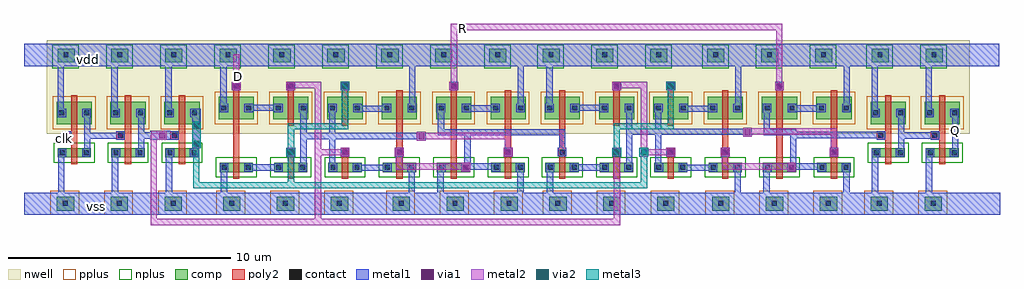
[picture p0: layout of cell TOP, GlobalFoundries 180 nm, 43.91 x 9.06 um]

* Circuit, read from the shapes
.subckt TOP D Q R clk vdd vss
XM1 n1 clk vss vss nfet_03v3 w=0.42u l=0.28u
XM2 n2 n1 vss vss nfet_03v3 w=0.42u l=0.28u
XM3 n3 n2 vss vss nfet_03v3 w=0.42u l=0.28u
XM4 n4 D vss vss nfet_03v3 w=0.42u l=0.28u
XM5 n5 n3 n4 vss nfet_03v3 w=0.42u l=0.28u
XM6 n6 n2 n5 vss nfet_03v3 w=0.42u l=0.28u
XM7 vss n7 n6 vss nfet_03v3 w=0.42u l=0.28u
XM8 n7 R vss vss nfet_03v3 w=0.42u l=0.28u
XM9 vss n5 n7 vss nfet_03v3 w=0.42u l=0.28u
XM10 n8 n7 vss vss nfet_03v3 w=0.42u l=0.28u
XM11 n9 n2 n8 vss nfet_03v3 w=0.42u l=0.28u
XM12 n10 n3 n9 vss nfet_03v3 w=0.42u l=0.28u
XM13 vss n11 n10 vss nfet_03v3 w=0.42u l=0.28u
XM14 n11 R vss vss nfet_03v3 w=0.42u l=0.28u
XM15 vss n9 n11 vss nfet_03v3 w=0.42u l=0.28u
XM16 n12 n11 vss vss nfet_03v3 w=0.42u l=0.28u
XM17 Q n12 vss vss nfet_03v3 w=0.42u l=0.28u
XM18 n1 clk vdd vdd pfet_03v3 w=1u l=0.28u
XM19 n2 n1 vdd vdd pfet_03v3 w=1u l=0.28u
XM20 n3 n2 vdd vdd pfet_03v3 w=1u l=0.28u
XM21 n13 D vdd vdd pfet_03v3 w=1u l=0.28u
XM22 n5 n2 n13 vdd pfet_03v3 w=1u l=0.28u
XM23 n14 n3 n5 vdd pfet_03v3 w=1u l=0.28u
XM24 vdd n7 n14 vdd pfet_03v3 w=1u l=0.28u
XM25 n15 R n7 vdd pfet_03v3 w=1u l=0.28u
XM26 vdd n5 n15 vdd pfet_03v3 w=1u l=0.28u
XM27 n16 n7 vdd vdd pfet_03v3 w=1u l=0.28u
XM28 n9 n3 n16 vdd pfet_03v3 w=1u l=0.28u
XM29 n17 n2 n9 vdd pfet_03v3 w=1u l=0.28u
XM30 vdd n11 n17 vdd pfet_03v3 w=1u l=0.28u
XM31 n18 R n11 vdd pfet_03v3 w=1u l=0.28u
XM32 vdd n9 n18 vdd pfet_03v3 w=1u l=0.28u
XM33 n12 n11 vdd vdd pfet_03v3 w=1u l=0.28u
XM34 Q n12 vdd vdd pfet_03v3 w=1u l=0.28u
.ends

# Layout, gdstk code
import gdstk
lib = gdstk.Library(unit=1e-6, precision=1e-08)
def R(c, l, rs):  # rectangles x0, y0, x1, y1
    for r in rs: c.add(gdstk.rectangle(r[:2], r[2:], *l))
nwell = (21, 0)
comp = (22, 0)
poly2 = (30, 0)
pplus = (31, 0)
nplus = (32, 0)
contact = (33, 0)
metal1 = (34, 0)
via1 = (35, 0)
metal2 = (36, 0)
via2 = (38, 0)
metal3 = (42, 0)

top = lib.new_cell('TOP')
R(top, nwell, [(-9.25,0.62,-6.79,2.5), (-6.83,0.62,-4.37,2.5), (-4.4,0.62,-1.94,2.5), (-4.4,0.62,-1.94,2.5), (-3.15,0.62,27.52,4.84), (27.37,0.62,29.83,2.5), (29.8,0.62,32.26,2.5), (-1.96,0.84,0.5,2.72), (0.49,0.84,2.95,2.72), (2.93,0.84,5.39,2.72), (5.38,0.84,7.84,2.72), (7.82,0.84,10.28,2.72), (10.27,0.84,12.73,2.72), (12.7,0.84,15.16,2.72), (15.15,0.84,17.61,2.72), (17.59,0.84,20.05,2.72), (20.04,0.84,22.5,2.72), (22.48,0.84,24.94,2.72), (24.93,0.84,27.39,2.72), (-9.25,2.42,-6.79,4.84), (-9.25,2.42,-6.79,4.84), (-6.83,2.42,-4.37,4.84), (-4.4,2.42,-1.94,4.84), (-4.4,2.42,-1.94,4.84), (-1.96,2.42,0.5,4.84), (-1.96,2.42,0.5,4.84), (0.46,2.42,2.92,4.84), (2.89,2.42,5.35,4.84), (2.89,2.42,5.35,4.84), (5.32,2.42,7.78,4.84), (5.32,2.42,7.78,4.84), (7.74,2.42,10.2,4.84), (10.17,2.42,12.63,4.84), (10.17,2.42,12.63,4.84), (12.57,2.42,15.03,4.84), (12.57,2.42,15.03,4.84), (14.99,2.42,17.45,4.84), (17.42,2.42,19.88,4.84), (17.42,2.42,19.88,4.84), (19.98,2.42,22.44,4.84), (19.98,2.42,22.44,4.84), (22.4,2.42,24.86,4.84), (24.83,2.42,27.29,4.84), (24.83,2.42,27.29,4.84), (27.37,2.42,29.83,4.84), (29.8,2.42,32.26,4.84)])
R(top, comp, [(-8.8,-2.84,-8.03,-2.22), (-6.38,-2.84,-5.61,-2.22), (-3.95,-2.84,-3.18,-2.22), (-3.95,-2.84,-3.18,-2.22), (-1.32,-2.84,-0.55,-2.22), (1.1,-2.84,1.87,-2.22), (3.53,-2.84,4.3,-2.22), (3.53,-2.84,4.3,-2.22), (6.31,-2.84,7.08,-2.22), (8.73,-2.84,9.5,-2.22), (11.16,-2.84,11.93,-2.22), (11.16,-2.84,11.93,-2.22), (13.36,-2.84,14.13,-2.22), (15.78,-2.84,16.55,-2.22), (18.21,-2.84,18.98,-2.22), (18.21,-2.84,18.98,-2.22), (20.68,-2.84,21.45,-2.22), (23.1,-2.84,23.87,-2.22), (25.53,-2.84,26.3,-2.22), (25.53,-2.84,26.3,-2.22), (27.82,-2.84,28.59,-2.22), (30.25,-2.84,31.02,-2.22), (-1.48,-1.1,-1.06,-0.68), (-1.06,-1.1,-0.4,-0.68), (-0.4,-1.1,0.02,-0.68), (0.97,-1.1,1.39,-0.68), (1.39,-1.1,2.05,-0.68), (2.05,-1.1,2.47,-0.68), (3.41,-1.1,3.83,-0.68), (3.83,-1.1,4.49,-0.68), (4.49,-1.1,4.91,-0.68), (5.86,-1.1,6.28,-0.68), (6.28,-1.1,6.94,-0.68), (6.94,-1.1,7.36,-0.68), (8.3,-1.1,8.72,-0.68), (8.72,-1.1,9.38,-0.68), (9.38,-1.1,9.8,-0.68), (10.75,-1.1,11.17,-0.68), (11.17,-1.1,11.83,-0.68), (11.83,-1.1,12.25,-0.68), (13.18,-1.1,13.6,-0.68), (13.6,-1.1,14.26,-0.68), (14.26,-1.1,14.68,-0.68), (15.63,-1.1,16.05,-0.68), (16.05,-1.1,16.71,-0.68), (16.71,-1.1,17.13,-0.68), (18.07,-1.1,18.49,-0.68), (18.49,-1.1,19.15,-0.68), (19.15,-1.1,19.57,-0.68), (20.52,-1.1,20.94,-0.68), (20.94,-1.1,21.6,-0.68), (21.6,-1.1,22.02,-0.68), (22.96,-1.1,23.38,-0.68), (23.38,-1.1,24.04,-0.68), (24.04,-1.1,24.46,-0.68), (25.41,-1.1,25.83,-0.68), (25.83,-1.1,26.49,-0.68), (26.49,-1.1,26.91,-0.68), (-8.77,-0.44,-8.35,-0.02), (-8.35,-0.44,-7.69,-0.02), (-7.69,-0.44,-7.27,-0.02), (-6.35,-0.44,-5.93,-0.02), (-5.93,-0.44,-5.27,-0.02), (-5.27,-0.44,-4.85,-0.02), (-3.92,-0.44,-3.5,-0.02), (-3.92,-0.44,-3.5,-0.02), (-3.5,-0.44,-2.84,-0.02), (-3.5,-0.44,-2.84,-0.02), (-2.84,-0.44,-2.42,-0.02), (-2.84,-0.44,-2.42,-0.02), (27.85,-0.44,28.27,-0.02), (28.27,-0.44,28.93,-0.02), (28.93,-0.44,29.35,-0.02), (30.28,-0.44,30.7,-0.02), (30.7,-0.44,31.36,-0.02), (31.36,-0.44,31.78,-0.02), (-8.81,1.06,-8.35,2.06), (-8.35,1.06,-7.69,2.06), (-7.69,1.06,-7.23,2.06), (-6.39,1.06,-5.93,2.06), (-5.93,1.06,-5.27,2.06), (-5.27,1.06,-4.81,2.06), (-3.96,1.06,-3.5,2.06), (-3.96,1.06,-3.5,2.06), (-3.5,1.06,-2.84,2.06), (-3.5,1.06,-2.84,2.06), (-2.84,1.06,-2.38,2.06), (-2.84,1.06,-2.38,2.06), (27.81,1.06,28.27,2.06), (28.27,1.06,28.93,2.06), (28.93,1.06,29.39,2.06), (30.24,1.06,30.7,2.06), (30.7,1.06,31.36,2.06), (31.36,1.06,31.82,2.06), (-1.52,1.28,-1.06,2.28), (-1.06,1.28,-0.4,2.28), (-0.4,1.28,0.06,2.28), (0.93,1.28,1.39,2.28), (1.39,1.28,2.05,2.28), (2.05,1.28,2.51,2.28), (3.37,1.28,3.83,2.28), (3.83,1.28,4.49,2.28), (4.49,1.28,4.95,2.28), (5.82,1.28,6.28,2.28), (6.28,1.28,6.94,2.28), (6.94,1.28,7.4,2.28), (8.26,1.28,8.72,2.28), (8.72,1.28,9.38,2.28), (9.38,1.28,9.84,2.28), (10.71,1.28,11.17,2.28), (11.17,1.28,11.83,2.28), (11.83,1.28,12.29,2.28), (13.14,1.28,13.6,2.28), (13.6,1.28,14.26,2.28), (14.26,1.28,14.72,2.28), (15.59,1.28,16.05,2.28), (16.05,1.28,16.71,2.28), (16.71,1.28,17.17,2.28), (18.03,1.28,18.49,2.28), (18.49,1.28,19.15,2.28), (19.15,1.28,19.61,2.28), (20.48,1.28,20.94,2.28), (20.94,1.28,21.6,2.28), (21.6,1.28,22.06,2.28), (22.92,1.28,23.38,2.28), (23.38,1.28,24.04,2.28), (24.04,1.28,24.5,2.28), (25.37,1.28,25.83,2.28), (25.83,1.28,26.49,2.28), (26.49,1.28,26.95,2.28), (-8.77,3.83,-8,4.45), (-8.77,3.83,-8,4.45), (-6.35,3.83,-5.58,4.45), (-3.92,3.83,-3.15,4.45), (-3.92,3.83,-3.15,4.45), (-1.48,3.83,-0.71,4.45), (-1.48,3.83,-0.71,4.45), (0.94,3.83,1.71,4.45), (3.37,3.83,4.14,4.45), (3.37,3.83,4.14,4.45), (5.8,3.83,6.57,4.45), (5.8,3.83,6.57,4.45), (8.22,3.83,8.99,4.45), (10.65,3.83,11.42,4.45), (10.65,3.83,11.42,4.45), (13.05,3.83,13.82,4.45), (13.05,3.83,13.82,4.45), (15.47,3.83,16.24,4.45), (17.9,3.83,18.67,4.45), (17.9,3.83,18.67,4.45), (20.46,3.83,21.23,4.45), (20.46,3.83,21.23,4.45), (22.88,3.83,23.65,4.45), (25.31,3.83,26.08,4.45), (25.31,3.83,26.08,4.45), (27.85,3.83,28.62,4.45), (30.28,3.83,31.05,4.45)])
R(top, poly2, [(-0.87,-1.4,-0.59,-0.38), (1.58,-1.4,1.86,-0.38), (4.02,-1.4,4.3,-0.38), (6.47,-1.4,6.75,-0.38), (8.91,-1.4,9.19,-0.38), (11.36,-1.4,11.64,-0.38), (13.79,-1.4,14.07,-0.38), (16.24,-1.4,16.52,-0.38), (18.68,-1.4,18.96,-0.38), (21.13,-1.4,21.41,-0.38), (23.57,-1.4,23.85,-0.38), (26.02,-1.4,26.3,-0.38), (11.36,-0.95,11.64,1.03), (26.02,-0.95,26.3,1.03), (-8.16,-0.74,-7.88,0.28), (-5.74,-0.74,-5.46,0.28), (-3.31,-0.74,-3.03,0.28), (-3.31,-0.74,-3.03,0.28), (28.46,-0.74,28.74,0.28), (30.89,-0.74,31.17,0.28), (8.91,-0.71,9.19,1.05), (23.57,-0.71,23.85,1.05), (-0.87,-0.7,-0.59,1.02), (13.79,-0.7,14.07,1.02), (6.47,-0.47,6.75,1.07), (21.13,-0.47,21.41,1.07), (1.54,-0.38,1.9,-0.02), (3.98,-0.38,4.34,-0.02), (6.43,-0.38,6.79,-0.02), (11.32,-0.38,11.68,-0.02), (13.75,-0.38,14.11,-0.02), (16.2,-0.38,16.56,-0.02), (18.64,-0.38,19,-0.02), (21.09,-0.38,21.45,-0.02), (25.98,-0.38,26.34,-0.02), (-8.54,0.36,-8.16,0.74), (-6.12,0.36,-5.74,0.74), (-3.69,0.36,-3.31,0.74), (-3.69,0.36,-3.31,0.74), (28.08,0.36,28.46,0.74), (30.51,0.36,30.89,0.74), (-8.16,0.76,-7.88,2.36), (-5.74,0.76,-5.46,2.36), (-3.31,0.76,-3.03,2.36), (-3.31,0.76,-3.03,2.36), (28.46,0.76,28.74,2.36), (30.89,0.76,31.17,2.36), (-0.87,0.98,-0.59,2.58), (1.58,0.98,1.86,2.58), (4.02,0.98,4.3,2.58), (6.47,0.98,6.75,2.58), (8.91,0.98,9.19,2.58), (11.36,0.98,11.64,2.58), (13.79,0.98,14.07,2.58), (16.24,0.98,16.52,2.58), (18.68,0.98,18.96,2.58), (21.13,0.98,21.41,2.58), (23.57,0.98,23.85,2.58), (26.02,0.98,26.3,2.58), (-0.92,2.58,-0.54,2.96), (1.53,2.58,1.91,2.96), (3.97,2.58,4.35,2.96), (8.86,2.58,9.24,2.96), (16.19,2.58,16.57,2.96), (18.63,2.58,19.01,2.96), (23.52,2.58,23.9,2.96)])
R(top, pplus, [(-9.1,-3.02,-7.8,-1.95), (-6.68,-3.02,-5.38,-1.95), (-4.25,-3.02,-2.95,-1.95), (-4.25,-3.02,-2.95,-1.95), (-1.62,-3.02,-0.32,-1.95), (0.8,-3.02,2.1,-1.95), (3.23,-3.02,4.53,-1.95), (3.23,-3.02,4.53,-1.95), (6.01,-3.02,7.31,-1.95), (8.43,-3.02,9.73,-1.95), (10.86,-3.02,12.16,-1.95), (10.86,-3.02,12.16,-1.95), (13.06,-3.02,14.36,-1.95), (15.48,-3.02,16.78,-1.95), (17.91,-3.02,19.21,-1.95), (17.91,-3.02,19.21,-1.95), (20.38,-3.02,21.68,-1.95), (22.8,-3.02,24.1,-1.95), (25.23,-3.02,26.53,-1.95), (25.23,-3.02,26.53,-1.95), (27.52,-3.02,28.82,-1.95), (29.95,-3.02,31.25,-1.95), (-8.98,0.82,-7.06,2.3), (-6.56,0.82,-4.64,2.3), (-4.13,0.82,-2.21,2.3), (-4.13,0.82,-2.21,2.3), (27.64,0.82,29.56,2.3), (30.07,0.82,31.99,2.3), (-1.69,1.04,0.23,2.52), (0.76,1.04,2.68,2.52), (3.2,1.04,5.12,2.52), (5.65,1.04,7.57,2.52), (8.09,1.04,10.01,2.52), (10.54,1.04,12.46,2.52), (12.97,1.04,14.89,2.52), (15.42,1.04,17.34,2.52), (17.86,1.04,19.78,2.52), (20.31,1.04,22.23,2.52), (22.75,1.04,24.67,2.52), (25.2,1.04,27.12,2.52)])
R(top, nplus, [(-1.65,-1.34,0.19,-0.44), (0.8,-1.34,2.64,-0.44), (3.24,-1.34,5.08,-0.44), (5.69,-1.34,7.53,-0.44), (8.13,-1.34,9.97,-0.44), (10.58,-1.34,12.42,-0.44), (13.01,-1.34,14.85,-0.44), (15.46,-1.34,17.3,-0.44), (17.9,-1.34,19.74,-0.44), (20.35,-1.34,22.19,-0.44), (22.79,-1.34,24.63,-0.44), (25.24,-1.34,27.08,-0.44), (-8.94,-0.68,-7.1,0.22), (-6.52,-0.68,-4.68,0.22), (-4.09,-0.68,-2.25,0.22), (-4.09,-0.68,-2.25,0.22), (27.68,-0.68,29.52,0.22), (30.11,-0.68,31.95,0.22), (-9,3.57,-7.81,4.62), (-9,3.57,-7.81,4.62), (-6.58,3.57,-5.39,4.62), (-4.15,3.57,-2.96,4.62), (-4.15,3.57,-2.96,4.62), (-1.71,3.57,-0.52,4.62), (-1.71,3.57,-0.52,4.62), (0.71,3.57,1.9,4.62), (3.14,3.57,4.33,4.62), (3.14,3.57,4.33,4.62), (5.57,3.57,6.76,4.62), (5.57,3.57,6.76,4.62), (7.99,3.57,9.18,4.62), (10.42,3.57,11.61,4.62), (10.42,3.57,11.61,4.62), (12.82,3.57,14.01,4.62), (12.82,3.57,14.01,4.62), (15.24,3.57,16.43,4.62), (17.67,3.57,18.86,4.62), (17.67,3.57,18.86,4.62), (20.23,3.57,21.42,4.62), (20.23,3.57,21.42,4.62), (22.65,3.57,23.84,4.62), (25.08,3.57,26.27,4.62), (25.08,3.57,26.27,4.62), (27.62,3.57,28.81,4.62), (30.05,3.57,31.24,4.62)])
R(top, contact, [(-8.53,-2.61,-8.31,-2.39), (-6.11,-2.61,-5.89,-2.39), (-3.68,-2.61,-3.46,-2.39), (-3.68,-2.61,-3.46,-2.39), (-1.05,-2.61,-0.83,-2.39), (1.37,-2.61,1.59,-2.39), (3.8,-2.61,4.02,-2.39), (3.8,-2.61,4.02,-2.39), (6.58,-2.61,6.8,-2.39), (9,-2.61,9.22,-2.39), (11.43,-2.61,11.65,-2.39), (11.43,-2.61,11.65,-2.39), (13.63,-2.61,13.85,-2.39), (16.05,-2.61,16.27,-2.39), (18.48,-2.61,18.7,-2.39), (18.48,-2.61,18.7,-2.39), (20.95,-2.61,21.17,-2.39), (23.37,-2.61,23.59,-2.39), (25.8,-2.61,26.02,-2.39), (25.8,-2.61,26.02,-2.39), (28.09,-2.61,28.31,-2.39), (30.52,-2.61,30.74,-2.39), (-1.38,-1,-1.16,-0.78), (-0.3,-1,-0.08,-0.78), (1.07,-1,1.29,-0.78), (2.15,-1,2.37,-0.78), (3.51,-1,3.73,-0.78), (4.59,-1,4.81,-0.78), (5.96,-1,6.18,-0.78), (7.04,-1,7.26,-0.78), (8.4,-1,8.62,-0.78), (9.48,-1,9.7,-0.78), (10.85,-1,11.07,-0.78), (11.93,-1,12.15,-0.78), (13.28,-1,13.5,-0.78), (14.36,-1,14.58,-0.78), (15.73,-1,15.95,-0.78), (16.81,-1,17.03,-0.78), (18.17,-1,18.39,-0.78), (19.25,-1,19.47,-0.78), (20.62,-1,20.84,-0.78), (21.7,-1,21.92,-0.78), (23.06,-1,23.28,-0.78), (24.14,-1,24.36,-0.78), (25.51,-1,25.73,-0.78), (26.59,-1,26.81,-0.78), (-8.67,-0.34,-8.45,-0.12), (-7.59,-0.34,-7.37,-0.12), (-6.25,-0.34,-6.03,-0.12), (-5.17,-0.34,-4.95,-0.12), (-3.82,-0.34,-3.6,-0.12), (-3.82,-0.34,-3.6,-0.12), (-2.74,-0.34,-2.52,-0.12), (-2.74,-0.34,-2.52,-0.12), (27.95,-0.34,28.17,-0.12), (29.03,-0.34,29.25,-0.12), (30.38,-0.34,30.6,-0.12), (31.46,-0.34,31.68,-0.12), (1.61,-0.31,1.83,-0.09), (4.05,-0.31,4.27,-0.09), (6.5,-0.31,6.72,-0.09), (11.39,-0.31,11.61,-0.09), (13.82,-0.31,14.04,-0.09), (16.27,-0.31,16.49,-0.09), (18.71,-0.31,18.93,-0.09), (21.16,-0.31,21.38,-0.09), (26.05,-0.31,26.27,-0.09), (-8.46,0.44,-8.24,0.66), (-6.04,0.44,-5.82,0.66), (-3.61,0.44,-3.39,0.66), (-3.61,0.44,-3.39,0.66), (28.16,0.44,28.38,0.66), (30.59,0.44,30.81,0.66), (-8.69,1.45,-8.47,1.67), (-7.57,1.45,-7.35,1.67), (-6.27,1.45,-6.05,1.67), (-5.15,1.45,-4.93,1.67), (-3.84,1.45,-3.62,1.67), (-3.84,1.45,-3.62,1.67), (-2.72,1.45,-2.5,1.67), (-2.72,1.45,-2.5,1.67), (27.93,1.45,28.15,1.67), (29.05,1.45,29.27,1.67), (30.36,1.45,30.58,1.67), (31.48,1.45,31.7,1.67), (-1.4,1.67,-1.18,1.89), (-0.28,1.67,-0.06,1.89), (1.05,1.67,1.27,1.89), (2.17,1.67,2.39,1.89), (3.49,1.67,3.71,1.89), (4.61,1.67,4.83,1.89), (5.94,1.67,6.16,1.89), (7.06,1.67,7.28,1.89), (8.38,1.67,8.6,1.89), (9.5,1.67,9.72,1.89), (10.83,1.67,11.05,1.89), (11.95,1.67,12.17,1.89), (13.26,1.67,13.48,1.89), (14.38,1.67,14.6,1.89), (15.71,1.67,15.93,1.89), (16.83,1.67,17.05,1.89), (18.15,1.67,18.37,1.89), (19.27,1.67,19.49,1.89), (20.6,1.67,20.82,1.89), (21.72,1.67,21.94,1.89), (23.04,1.67,23.26,1.89), (24.16,1.67,24.38,1.89), (25.49,1.67,25.71,1.89), (26.61,1.67,26.83,1.89), (-0.84,2.66,-0.62,2.88), (1.61,2.66,1.83,2.88), (4.05,2.66,4.27,2.88), (8.94,2.66,9.16,2.88), (16.27,2.66,16.49,2.88), (18.71,2.66,18.93,2.88), (23.6,2.66,23.82,2.88), (-8.5,4.06,-8.28,4.28), (-8.5,4.06,-8.28,4.28), (-6.08,4.06,-5.86,4.28), (-3.65,4.06,-3.43,4.28), (-3.65,4.06,-3.43,4.28), (-1.21,4.06,-0.99,4.28), (-1.21,4.06,-0.99,4.28), (1.21,4.06,1.43,4.28), (3.64,4.06,3.86,4.28), (3.64,4.06,3.86,4.28), (6.07,4.06,6.29,4.28), (6.07,4.06,6.29,4.28), (8.49,4.06,8.71,4.28), (10.92,4.06,11.14,4.28), (10.92,4.06,11.14,4.28), (13.32,4.06,13.54,4.28), (13.32,4.06,13.54,4.28), (15.74,4.06,15.96,4.28), (18.17,4.06,18.39,4.28), (18.17,4.06,18.39,4.28), (20.73,4.06,20.95,4.28), (20.73,4.06,20.95,4.28), (23.15,4.06,23.37,4.28), (25.58,4.06,25.8,4.28), (25.58,4.06,25.8,4.28), (28.12,4.06,28.34,4.28), (30.55,4.06,30.77,4.28)])
R(top, metal1, [(9.39,-1.09,9.79,-0.69), (9.39,-1.09,9.79,-0.69), (24.05,-1.09,24.45,-0.69), (24.05,-1.09,24.45,-0.69), (-1.46,-1.08,-1.08,-0.7), (-0.38,-1.08,0,-0.7), (0.99,-1.08,1.37,-0.7), (2.07,-1.08,2.45,-0.7), (3.43,-1.08,3.81,-0.7), (4.51,-1.08,4.89,-0.7), (5.88,-1.08,6.26,-0.7), (6.96,-1.08,7.34,-0.7), (8.32,-1.08,8.7,-0.7), (9.4,-1.08,9.78,-0.7), (10.77,-1.08,11.15,-0.7), (11.85,-1.08,12.23,-0.7), (13.2,-1.08,13.58,-0.7), (14.28,-1.08,14.66,-0.7), (15.65,-1.08,16.03,-0.7), (16.73,-1.08,17.11,-0.7), (18.09,-1.08,18.47,-0.7), (19.17,-1.08,19.55,-0.7), (20.54,-1.08,20.92,-0.7), (21.62,-1.08,22,-0.7), (22.98,-1.08,23.36,-0.7), (24.06,-1.08,24.44,-0.7), (25.43,-1.08,25.81,-0.7), (26.51,-1.08,26.89,-0.7), (-8.75,-0.42,-8.37,-0.04), (-7.67,-0.42,-7.29,-0.04), (-6.33,-0.42,-5.95,-0.04), (-5.25,-0.42,-4.87,-0.04), (-3.9,-0.42,-3.52,-0.04), (-3.9,-0.42,-3.52,-0.04), (-2.82,-0.42,-2.44,-0.04), (-2.82,-0.42,-2.44,-0.04), (27.87,-0.42,28.25,-0.04), (28.95,-0.42,29.33,-0.04), (30.3,-0.42,30.68,-0.04), (31.38,-0.42,31.76,-0.04), (1.52,-0.4,1.92,0), (3.96,-0.4,4.36,0), (6.41,-0.4,6.81,0), (11.3,-0.4,11.7,0), (16.18,-0.4,16.58,0), (18.62,-0.4,19.02,0), (21.07,-0.4,21.47,0), (25.96,-0.4,26.36,0), (1.53,-0.39,1.91,-0.01), (3.97,-0.39,4.35,-0.01), (6.42,-0.39,6.8,-0.01), (11.31,-0.39,11.69,-0.01), (13.74,-0.39,14.12,-0.01), (16.19,-0.39,16.57,-0.01), (18.63,-0.39,19.01,-0.01), (21.08,-0.39,21.46,-0.01), (25.97,-0.39,26.35,-0.01), (-2.72,-0.03,-2.32,0.37), (7.4,0.31,7.8,0.71), (-2.72,0.34,-2.32,0.84), (-4.59,0.35,-3.69,0.75), (-4.26,0.35,-3.86,0.75), (-8.54,0.36,-8.16,0.74), (-6.12,0.36,-5.74,0.74), (-3.69,0.36,-3.31,0.74), (-3.69,0.36,-3.31,0.74), (28.08,0.36,28.46,0.74), (30.51,0.36,30.89,0.74), (22.07,0.49,22.47,0.89), (-2.72,0.77,-2.32,1.17), (-2.7,1.17,-2.32,1.75), (-8.77,1.37,-8.39,1.75), (-7.65,1.37,-7.27,1.75), (-6.35,1.37,-5.97,1.75), (-5.23,1.37,-4.85,1.75), (-3.92,1.37,-3.54,1.75), (-3.92,1.37,-3.54,1.75), (-2.8,1.37,-2.42,1.75), (-2.8,1.37,-2.42,1.75), (27.85,1.37,28.23,1.75), (28.97,1.37,29.35,1.75), (30.28,1.37,30.66,1.75), (31.4,1.37,31.78,1.75), (-1.48,1.59,-1.1,1.97), (-0.36,1.59,0.02,1.97), (0.97,1.59,1.35,1.97), (2.09,1.59,2.47,1.97), (3.41,1.59,3.79,1.97), (4.53,1.59,4.91,1.97), (5.86,1.59,6.24,1.97), (6.98,1.59,7.36,1.97), (8.3,1.59,8.68,1.97), (9.42,1.59,9.8,1.97), (10.75,1.59,11.13,1.97), (11.87,1.59,12.25,1.97), (13.18,1.59,13.56,1.97), (14.3,1.59,14.68,1.97), (15.63,1.59,16.01,1.97), (16.75,1.59,17.13,1.97), (18.07,1.59,18.45,1.97), (19.19,1.59,19.57,1.97), (20.52,1.59,20.9,1.97), (21.64,1.59,22.02,1.97), (22.96,1.59,23.34,1.97), (24.08,1.59,24.46,1.97), (25.41,1.59,25.79,1.97), (26.53,1.59,26.91,1.97), (-0.93,2.57,-0.53,2.97), (1.52,2.57,1.92,2.97), (3.96,2.57,4.36,2.97), (8.85,2.57,9.25,2.97), (16.18,2.57,16.58,2.97), (18.62,2.57,19.02,2.97), (23.51,2.57,23.91,2.97), (-0.92,2.58,-0.54,2.96), (1.53,2.58,1.91,2.96), (3.97,2.58,4.35,2.96), (8.86,2.58,9.24,2.96), (16.19,2.58,16.57,2.96), (18.63,2.58,19.01,2.96), (23.52,2.58,23.9,2.96)])
R(top, via1, [(9.46,-1.02,9.72,-0.76), (9.46,-1.02,9.72,-0.76), (24.12,-1.02,24.38,-0.76), (24.12,-1.02,24.38,-0.76), (1.59,-0.33,1.85,-0.07), (4.03,-0.33,4.29,-0.07), (6.48,-0.33,6.74,-0.07), (11.37,-0.33,11.63,-0.07), (16.25,-0.33,16.51,-0.07), (18.69,-0.33,18.95,-0.07), (21.14,-0.33,21.4,-0.07), (26.03,-0.33,26.29,-0.07), (-2.65,0.04,-2.39,0.3), (7.47,0.38,7.73,0.64), (-4.19,0.42,-3.93,0.68), (22.14,0.56,22.4,0.82), (-2.65,0.84,-2.39,1.1), (-0.86,2.64,-0.6,2.9), (1.59,2.64,1.85,2.9), (4.03,2.64,4.29,2.9), (8.92,2.64,9.18,2.9), (16.25,2.64,16.51,2.9), (18.69,2.64,18.95,2.9), (23.58,2.64,23.84,2.9)])
R(top, metal2, [(9.39,-1.09,9.79,-0.69), (9.39,-1.09,9.79,-0.69), (24.05,-1.09,24.45,-0.69), (24.05,-1.09,24.45,-0.69), (17.41,-0.41,17.81,-0.01), (1.52,-0.4,1.92,0), (3.96,-0.4,4.36,0), (6.41,-0.4,6.81,0), (11.3,-0.4,11.7,0), (16.18,-0.4,16.58,0), (18.62,-0.4,19.02,0), (21.07,-0.4,21.47,0), (25.96,-0.4,26.36,0), (-2.72,-0.03,-2.32,0.37), (-2.72,0.28,-2.32,0.81), (7.4,0.31,7.8,0.71), (-4.56,0.35,-3.86,0.75), (-4.26,0.35,-3.86,0.75), (22.07,0.49,22.47,0.89), (-2.72,0.77,-2.32,1.17), (-0.93,2.57,-0.53,2.97), (1.52,2.57,1.92,2.97), (3.96,2.57,4.36,2.97), (8.85,2.57,9.25,2.97), (16.18,2.57,16.58,2.97), (18.62,2.57,19.02,2.97), (23.51,2.57,23.91,2.97)])
R(top, via2, [(17.48,-0.34,17.74,-0.08), (1.59,-0.33,1.85,-0.07), (16.25,-0.33,16.51,-0.07), (-2.65,0.04,-2.39,0.3), (-2.65,0.84,-2.39,1.1), (4.03,2.64,4.29,2.9), (18.69,2.64,18.95,2.9)])
R(top, metal3, [(17.41,-0.41,17.81,-0.01), (1.52,-0.4,1.92,0), (16.18,-0.4,16.58,0), (-2.72,-0.03,-2.32,0.37), (-2.72,0.32,-2.32,0.8), (-2.72,0.77,-2.32,1.17), (3.96,2.57,4.36,2.97), (18.62,2.57,19.02,2.97)])
top.add(gdstk.FlexPath([(-3.17,1.04),(-3.17,0.17)], 0.28, ends="flush", simple_path=True, layer=30, datatype=0))  # poly2
top.add(gdstk.FlexPath([(-3.17,1.04),(-3.17,0.17)], 0.28, ends="flush", simple_path=True, layer=30, datatype=0))  # poly2
top.add(gdstk.FlexPath([(-5.6,1.04),(-5.6,0.17)], 0.28, ends="flush", simple_path=True, layer=30, datatype=0))  # poly2
top.add(gdstk.FlexPath([(-8.02,1.04),(-8.02,0.17)], 0.28, ends="flush", simple_path=True, layer=30, datatype=0))  # poly2
top.add(gdstk.FlexPath([(28.6,1.04),(28.6,0.17)], 0.28, ends="flush", simple_path=True, layer=30, datatype=0))  # poly2
top.add(gdstk.FlexPath([(31.03,1.04),(31.03,0.17)], 0.28, ends="flush", simple_path=True, layer=30, datatype=0))  # poly2
top.add(gdstk.FlexPath([(-1.45,4.17),(32.66,4.17)], 1, ends="flush", simple_path=True, layer=34, datatype=0))  # metal1
top.add(gdstk.FlexPath([(-1.36,-2.53),(33.63,-2.53)], 1, ends="flush", simple_path=True, layer=34, datatype=0))  # metal1
top.add(gdstk.FlexPath([(-7.34,0.54),(-5.98,0.54)], 0.28, ends="flush", simple_path=True, layer=34, datatype=0))  # metal1
top.add(gdstk.FlexPath([(-3.45,0.55),(-5.03,0.55)], 0.28, ends="flush", simple_path=True, layer=34, datatype=0))  # metal1
top.add(gdstk.FlexPath([(-1.3,1.76),(-1.3,4.06)], 0.28, ends="flush", simple_path=True, layer=34, datatype=0))  # metal1
top.add(gdstk.FlexPath([(-0.15,1.79),(1.13,1.79)], 0.28, ends="flush", simple_path=True, layer=34, datatype=0))  # metal1
top.add(gdstk.FlexPath([(7.19,1.77),(7.19,4.08)], 0.28, ends="flush", simple_path=True, layer=34, datatype=0))  # metal1
top.add(gdstk.FlexPath([(6.03,1.75),(4.71,1.75)], 0.28, ends="flush", simple_path=True, layer=34, datatype=0))  # metal1
top.add(gdstk.FlexPath([(2.29,1.78),(2.29,-0.88)], 0.28, ends="flush", simple_path=True, layer=34, datatype=0))  # metal1
top.add(gdstk.FlexPath([(3.59,1.79),(3.59,-0.96)], 0.28, ends="flush", simple_path=True, layer=34, datatype=0))  # metal1
top.add(gdstk.FlexPath([(1.17,-0.89),(-0.17,-0.89)], 0.28, ends="flush", simple_path=True, layer=34, datatype=0))  # metal1
top.add(gdstk.FlexPath([(-1.28,-0.88),(-1.28,-2.24)], 0.28, ends="flush", simple_path=True, layer=34, datatype=0))  # metal1
top.add(gdstk.FlexPath([(4.76,-0.9),(6.07,-0.9),(6.07,-0.9)], 0.28, ends="flush", simple_path=True, layer=34, datatype=0))  # metal1
top.add(gdstk.FlexPath([(7.17,-0.9),(7.17,-2.35)], 0.28, ends="flush", simple_path=True, layer=34, datatype=0))  # metal1
top.add(gdstk.FlexPath([(8.46,-0.88),(8.46,-2.31)], 0.28, ends="flush", simple_path=True, layer=34, datatype=0))  # metal1
top.add(gdstk.FlexPath([(12.06,-0.89),(12.06,-2.44)], 0.28, ends="flush", simple_path=True, layer=34, datatype=0))  # metal1
top.add(gdstk.FlexPath([(10.95,-0.85),(9.53,-0.85)], 0.28, ends="flush", simple_path=True, layer=34, datatype=0))  # metal1
top.add(gdstk.FlexPath([(9.67,-0.83),(9.67,0.69),(8.48,0.69),(8.48,1.79)], 0.28, ends="flush", simple_path=True, layer=34, datatype=0))  # metal1
top.add(gdstk.FlexPath([(9.63,1.76),(11.03,1.76)], 0.28, ends="flush", simple_path=True, layer=34, datatype=0))  # metal1
top.add(gdstk.FlexPath([(12.07,1.83),(12.07,3.98)], 0.28, ends="flush", simple_path=True, layer=34, datatype=0))  # metal1
top.add(gdstk.FlexPath([(3.63,0.52),(7.64,0.52)], 0.28, ends="flush", simple_path=True, layer=34, datatype=0))  # metal1
top.add(gdstk.FlexPath([(13.36,1.76),(13.36,4.06)], 0.28, ends="flush", simple_path=True, layer=34, datatype=0))  # metal1
top.add(gdstk.FlexPath([(14.51,1.79),(15.79,1.79)], 0.28, ends="flush", simple_path=True, layer=34, datatype=0))  # metal1
top.add(gdstk.FlexPath([(21.85,1.77),(21.85,4.08)], 0.28, ends="flush", simple_path=True, layer=34, datatype=0))  # metal1
top.add(gdstk.FlexPath([(20.69,1.75),(19.37,1.75)], 0.28, ends="flush", simple_path=True, layer=34, datatype=0))  # metal1
top.add(gdstk.FlexPath([(16.95,1.78),(16.95,-0.88)], 0.28, ends="flush", simple_path=True, layer=34, datatype=0))  # metal1
top.add(gdstk.FlexPath([(18.25,1.79),(18.25,-0.96)], 0.28, ends="flush", simple_path=True, layer=34, datatype=0))  # metal1
top.add(gdstk.FlexPath([(15.83,-0.89),(14.49,-0.89)], 0.28, ends="flush", simple_path=True, layer=34, datatype=0))  # metal1
top.add(gdstk.FlexPath([(13.38,-0.88),(13.38,-2.24)], 0.28, ends="flush", simple_path=True, layer=34, datatype=0))  # metal1
top.add(gdstk.FlexPath([(19.42,-0.9),(20.73,-0.9),(20.73,-0.9)], 0.28, ends="flush", simple_path=True, layer=34, datatype=0))  # metal1
top.add(gdstk.FlexPath([(21.83,-0.9),(21.83,-2.35)], 0.28, ends="flush", simple_path=True, layer=34, datatype=0))  # metal1
top.add(gdstk.FlexPath([(23.12,-0.88),(23.12,-2.31)], 0.28, ends="flush", simple_path=True, layer=34, datatype=0))  # metal1
top.add(gdstk.FlexPath([(26.72,-0.89),(26.72,-2.44)], 0.28, ends="flush", simple_path=True, layer=34, datatype=0))  # metal1
top.add(gdstk.FlexPath([(25.61,-0.85),(24.19,-0.85)], 0.28, ends="flush", simple_path=True, layer=34, datatype=0))  # metal1
top.add(gdstk.FlexPath([(24.33,-0.83),(24.33,0.69),(23.14,0.69),(23.14,1.79)], 0.28, ends="flush", simple_path=True, layer=34, datatype=0))  # metal1
top.add(gdstk.FlexPath([(24.29,1.76),(25.69,1.76)], 0.28, ends="flush", simple_path=True, layer=34, datatype=0))  # metal1
top.add(gdstk.FlexPath([(26.73,1.83),(26.73,3.98)], 0.28, ends="flush", simple_path=True, layer=34, datatype=0))  # metal1
top.add(gdstk.FlexPath([(9.66,0.69),(13.94,0.69),(13.94,-0.17)], 0.28, ends="flush", simple_path=True, layer=34, datatype=0))  # metal1
top.add(gdstk.FlexPath([(30.67,0.55),(29.21,0.55)], 0.28, ends="flush", simple_path=True, layer=34, datatype=0))  # metal1
top.add(gdstk.FlexPath([(28.25,0.57),(24.3,0.57)], 0.28, ends="flush", simple_path=True, layer=34, datatype=0))  # metal1
top.add(gdstk.FlexPath([(-5.43,4.17),(-0.6,4.17)], 1, ends="flush", simple_path=True, layer=34, datatype=0))  # metal1
top.add(gdstk.FlexPath([(-5.43,-2.53),(-0.6,-2.53)], 1, ends="flush", simple_path=True, layer=34, datatype=0))  # metal1
top.add(gdstk.FlexPath([(-3.78,1.63),(-3.78,4.01)], 0.28, ends="flush", simple_path=True, layer=34, datatype=0))  # metal1
top.add(gdstk.FlexPath([(-3.76,-0.3),(-3.76,-2.08)], 0.28, ends="flush", simple_path=True, layer=34, datatype=0))  # metal1
top.add(gdstk.FlexPath([(-2.58,1.43),(-2.58,-0.31)], 0.28, ends="flush", simple_path=True, layer=34, datatype=0))  # metal1
top.add(gdstk.FlexPath([(-5.43,4.17),(-0.6,4.17)], 1, ends="flush", simple_path=True, layer=34, datatype=0))  # metal1
top.add(gdstk.FlexPath([(-5.43,-2.53),(-0.6,-2.53)], 1, ends="flush", simple_path=True, layer=34, datatype=0))  # metal1
top.add(gdstk.FlexPath([(-3.78,1.63),(-3.78,4.01)], 0.28, ends="flush", simple_path=True, layer=34, datatype=0))  # metal1
top.add(gdstk.FlexPath([(-3.76,-0.3),(-3.76,-2.08)], 0.28, ends="flush", simple_path=True, layer=34, datatype=0))  # metal1
top.add(gdstk.FlexPath([(-2.58,1.43),(-2.58,-0.31)], 0.28, ends="flush", simple_path=True, layer=34, datatype=0))  # metal1
top.add(gdstk.FlexPath([(-7.86,4.17),(-3.03,4.17)], 1, ends="flush", simple_path=True, layer=34, datatype=0))  # metal1
top.add(gdstk.FlexPath([(-6.21,1.63),(-6.21,4.01)], 0.28, ends="flush", simple_path=True, layer=34, datatype=0))  # metal1
top.add(gdstk.FlexPath([(-6.19,-0.3),(-6.19,-2.08)], 0.28, ends="flush", simple_path=True, layer=34, datatype=0))  # metal1
top.add(gdstk.FlexPath([(-5.01,1.43),(-5.01,-0.31)], 0.28, ends="flush", simple_path=True, layer=34, datatype=0))  # metal1
top.add(gdstk.FlexPath([(-10.28,4.17),(-5.45,4.17)], 1, ends="flush", simple_path=True, layer=34, datatype=0))  # metal1
top.add(gdstk.FlexPath([(-10.28,-2.53),(-5.45,-2.53)], 1, ends="flush", simple_path=True, layer=34, datatype=0))  # metal1
top.add(gdstk.FlexPath([(-8.63,1.63),(-8.63,4.01)], 0.28, ends="flush", simple_path=True, layer=34, datatype=0))  # metal1
top.add(gdstk.FlexPath([(-8.61,-0.3),(-8.61,-2.08)], 0.28, ends="flush", simple_path=True, layer=34, datatype=0))  # metal1
top.add(gdstk.FlexPath([(-7.43,1.43),(-7.43,-0.31)], 0.28, ends="flush", simple_path=True, layer=34, datatype=0))  # metal1
top.add(gdstk.FlexPath([(26.34,4.17),(31.17,4.17)], 1, ends="flush", simple_path=True, layer=34, datatype=0))  # metal1
top.add(gdstk.FlexPath([(26.34,-2.53),(31.17,-2.53)], 1, ends="flush", simple_path=True, layer=34, datatype=0))  # metal1
top.add(gdstk.FlexPath([(27.99,1.63),(27.99,4.01)], 0.28, ends="flush", simple_path=True, layer=34, datatype=0))  # metal1
top.add(gdstk.FlexPath([(28.01,-0.3),(28.01,-2.08)], 0.28, ends="flush", simple_path=True, layer=34, datatype=0))  # metal1
top.add(gdstk.FlexPath([(29.19,1.43),(29.19,-0.31)], 0.28, ends="flush", simple_path=True, layer=34, datatype=0))  # metal1
top.add(gdstk.FlexPath([(28.77,4.17),(33.6,4.17)], 1, ends="flush", simple_path=True, layer=34, datatype=0))  # metal1
top.add(gdstk.FlexPath([(28.77,-2.53),(33.6,-2.53)], 1, ends="flush", simple_path=True, layer=34, datatype=0))  # metal1
top.add(gdstk.FlexPath([(30.42,1.63),(30.42,4.01)], 0.28, ends="flush", simple_path=True, layer=34, datatype=0))  # metal1
top.add(gdstk.FlexPath([(30.44,-0.3),(30.44,-2.08)], 0.28, ends="flush", simple_path=True, layer=34, datatype=0))  # metal1
top.add(gdstk.FlexPath([(31.62,1.43),(31.62,-0.31)], 0.28, ends="flush", simple_path=True, layer=34, datatype=0))  # metal1
top.add(gdstk.FlexPath([(22.21,0.71),(18.16,0.71)], 0.28, ends="flush", simple_path=True, layer=34, datatype=0))  # metal1
top.add(gdstk.FlexPath([(-0.57,4.17),(4.26,4.17)], 1, ends="flush", simple_path=True, layer=34, datatype=0))  # metal1
top.add(gdstk.FlexPath([(6.71,4.17),(11.54,4.17)], 1, ends="flush", simple_path=True, layer=34, datatype=0))  # metal1
top.add(gdstk.FlexPath([(13.96,4.17),(18.79,4.17)], 1, ends="flush", simple_path=True, layer=34, datatype=0))  # metal1
top.add(gdstk.FlexPath([(21.37,4.17),(26.2,4.17)], 1, ends="flush", simple_path=True, layer=34, datatype=0))  # metal1
top.add(gdstk.FlexPath([(-7.86,-2.53),(-3.03,-2.53)], 1, ends="flush", simple_path=True, layer=34, datatype=0))  # metal1
top.add(gdstk.FlexPath([(-0.38,-2.53),(4.45,-2.53)], 1, ends="flush", simple_path=True, layer=34, datatype=0))  # metal1
top.add(gdstk.FlexPath([(7.25,-2.53),(12.08,-2.53)], 1, ends="flush", simple_path=True, layer=34, datatype=0))  # metal1
top.add(gdstk.FlexPath([(14.3,-2.53),(19.13,-2.53)], 1, ends="flush", simple_path=True, layer=34, datatype=0))  # metal1
top.add(gdstk.FlexPath([(21.62,-2.53),(26.45,-2.53)], 1, ends="flush", simple_path=True, layer=34, datatype=0))  # metal1
top.add(gdstk.FlexPath([(3.76,0.52),(2.37,0.52)], 0.28, ends="flush", simple_path=True, layer=34, datatype=0))  # metal1
top.add(gdstk.FlexPath([(18.27,0.71),(16.91,0.71)], 0.28, ends="flush", simple_path=True, layer=34, datatype=0))  # metal1
top.add(gdstk.FlexPath([(1.7,2.82),(2.95,2.82),(2.95,-0.21),(4.16,-0.21)], 0.28, ends="flush", simple_path=True, layer=36, datatype=0))  # metal2
top.add(gdstk.FlexPath([(2.95,-0.19),(2.95,-3.35),(-4.44,-3.35),(-4.44,0.57)], 0.28, ends="flush", simple_path=True, layer=36, datatype=0))  # metal2
top.add(gdstk.FlexPath([(-0.73,2.82),(-0.73,4.21)], 0.28, ends="flush", simple_path=True, layer=36, datatype=0))  # metal2
top.add(gdstk.FlexPath([(9.56,-0.85),(6.59,-0.85),(6.59,-0.13)], 0.28, ends="flush", simple_path=True, layer=36, datatype=0))  # metal2
top.add(gdstk.FlexPath([(16.36,2.82),(17.61,2.82),(17.61,-0.21),(18.82,-0.21)], 0.28, ends="flush", simple_path=True, layer=36, datatype=0))  # metal2
top.add(gdstk.FlexPath([(9.07,2.76),(9.07,5.57)], 0.28, ends="flush", simple_path=True, layer=36, datatype=0))  # metal2
top.add(gdstk.FlexPath([(24.22,-0.85),(21.25,-0.85),(21.25,-0.13)], 0.28, ends="flush", simple_path=True, layer=36, datatype=0))  # metal2
top.add(gdstk.FlexPath([(16.4,-0.21),(16.4,-3.35),(2.77,-3.35)], 0.28, ends="flush", simple_path=True, layer=36, datatype=0))  # metal2
top.add(gdstk.FlexPath([(23.7,2.76),(23.7,5.57)], 0.28, ends="flush", simple_path=True, layer=36, datatype=0))  # metal2
top.add(gdstk.FlexPath([(9.07,5.43),(23.71,5.43)], 0.28, ends="flush", simple_path=True, layer=36, datatype=0))  # metal2
top.add(gdstk.FlexPath([(22.23,0.73),(26.15,0.73),(26.15,-0.29)], 0.28, ends="flush", simple_path=True, layer=36, datatype=0))  # metal2
top.add(gdstk.FlexPath([(7.63,0.52),(11.48,0.52),(11.48,-0.22)], 0.28, ends="flush", simple_path=True, layer=36, datatype=0))  # metal2
top.add(gdstk.FlexPath([(1.73,-0.16),(1.73,0.96),(4.16,0.96),(4.16,2.84)], 0.28, ends="flush", simple_path=True, layer=42, datatype=0))  # metal3
top.add(gdstk.FlexPath([(1.73,-0.1),(1.73,-1.69),(-2.53,-1.69),(-2.53,0.27)], 0.28, ends="flush", simple_path=True, layer=42, datatype=0))  # metal3
top.add(gdstk.FlexPath([(16.39,-0.16),(16.39,0.96),(18.82,0.96),(18.82,2.84)], 0.28, ends="flush", simple_path=True, layer=42, datatype=0))  # metal3
top.add(gdstk.FlexPath([(1.44,-1.69),(17.61,-1.69),(17.61,-0.2)], 0.28, ends="flush", simple_path=True, layer=42, datatype=0))  # metal3
top.add(gdstk.Label('clk', (-8.47,0.41), layer=34, texttype=10))
top.add(gdstk.Label('Q', (31.64,0.76), layer=34, texttype=10))
top.add(gdstk.Label('vdd', (-7.38,3.97), layer=34, texttype=10))
top.add(gdstk.Label('vdd', (-7.38,3.97), layer=34, texttype=10))
top.add(gdstk.Label('vss', (-7.03,-2.67), layer=34, texttype=10))
top.add(gdstk.Label('D', (-0.61,3.19), layer=36, texttype=10))
top.add(gdstk.Label('R', (9.44,5.36), layer=36, texttype=10))

lib.write_gds('TOP.gds')
